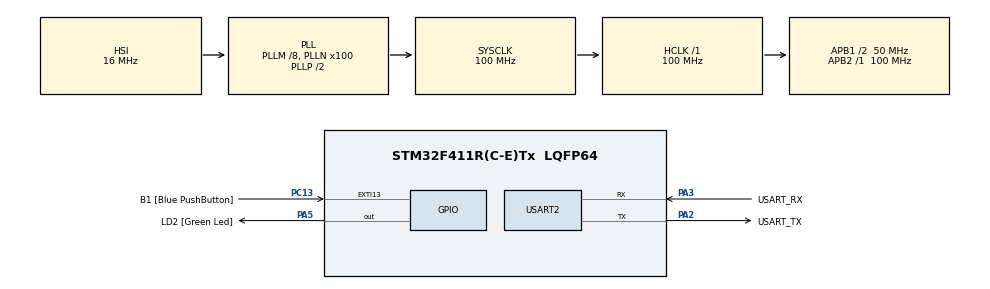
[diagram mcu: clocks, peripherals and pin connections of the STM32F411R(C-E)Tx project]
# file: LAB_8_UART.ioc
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Mcu.Family=STM32F4
PC15-OSC32_OUT.Mode=LSE-External-Oscillator
RCC.CortexFreq_Value=100000000
PC13-ANTI_TAMP.GPIO_Label=B1 [Blue PushButton]
PA14.GPIO_Label=TCK
PH1\ -\ OSC_OUT.Mode=HSE-External-Clock-Source
RCC.APB1CLKDivider=RCC_HCLK_DIV2
PC14-OSC32_IN.Signal=RCC_OSC32_IN
NVIC.USART2_IRQn=true\:0\:0\:false\:false\:true\:true\:true
RCC.SYSCLKSource=RCC_SYSCLKSOURCE_PLLCLK
ProjectManager.StackSize=0x400
PA13.Signal=SYS_JTMS-SWDIO
PA3.Mode=Asynchronous
PH0\ -\ OSC_IN.Mode=HSE-External-Clock-Source
PH0\ -\ OSC_IN.Signal=RCC_OSC_IN
ProjectManager.TargetToolchain=STM32CubeIDE
RCC.HCLKFreq_Value=100000000
RCC.APB2TimFreq_Value=100000000
PC15-OSC32_OUT.Signal=RCC_OSC32_OUT
RCC.AHBFreq_Value=100000000
PA5.Signal=GPIO_Output
RCC.HSE_VALUE=8000000
PH1\ -\ OSC_OUT.Signal=RCC_OSC_OUT
board=NUCLEO-F411RE
PC13-ANTI_TAMP.Signal=GPXTI13
RCC.VCOOutputFreq_Value=200000000
RCC.APB2Freq_Value=100000000
PC14-OSC32_IN.Mode=LSE-External-Oscillator
PA14.Mode=Serial_Wire
PA13.Mode=Serial_Wire
Mcu.Name=STM32F411R(C-E)Tx
PA2.Signal=USART2_TX
PA13.GPIO_Label=TMS
RCC.FLatency-AdvancedSettings=FLASH_LATENCY_3
RCC.48MHZClocksFreq_Value=50000000
PB3.Signal=SYS_JTDO-SWO
RCC.SYSCLKFreq_VALUE=100000000
Mcu.Package=LQFP64
PA5.GPIO_Label=LD2 [Green Led]
USART2.VirtualMode=VM_ASYNC
PC13-ANTI_TAMP.GPIO_ModeDefaultEXTI=GPIO_MODE_IT_FALLING
PA2.GPIO_Label=USART_TX
PA14.Signal=SYS_JTCK-SWCLK
ProjectManager.HeapSize=0x200
RCC.HSI_VALUE=16000000
NVIC.PriorityGroup=NVIC_PRIORITYGROUP_0
RCC.PLLM=8
RCC.PLLN=100
RCC.APB1TimFreq_Value=100000000
PA2.Mode=Asynchronous
RCC.APB1Freq_Value=50000000
PA3.GPIO_Label=USART_RX
PA3.Signal=USART2_RX
PB3.GPIO_Label=SWO

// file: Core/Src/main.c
/* USER CODE BEGIN Header */
/**
 ******************************************************************************
 * @file           : main.c
 * @brief          : Main program body
 ******************************************************************************
 * @attention
 *
 * <h2><center>&copy; Copyright (c) 2021 STMicroelectronics.
 * All rights reserved.</center></h2>
 *
 * This software component is licensed by ST under BSD 3-Clause license,
 * the "License"; You may not use this file except in compliance with the
 * License. You may obtain a copy of the License at:
 *                        opensource.org/licenses/BSD-3-Clause
 *
 ******************************************************************************
 */
/* USER CODE END Header */
#include "main.h"

/* USER CODE BEGIN Includes */
#include <stdio.h> //s
#include <string.h>
/* USER CODE END Includes */

UART_HandleTypeDef huart2;

/* USER CODE BEGIN PV */
char TxDataBuffer[32] =
{ 0 };
char RxDataBuffer[32] =
{ 0 };

uint8_t		ButtonArray[2]  = {0};
uint32_t	LEDTimeStamp    = 0;
uint16_t	LEDFrequency    = 0;
uint16_t	LEDHalfPeriod	= 0;
uint8_t		LED_On_Off		= 1;  //On

typedef enum
{
	Menu_Print,
	Wait_Select_Menu,
	Menu_0_Print = 10,
	Menu_0_Select,
	Menu_1_Print =20,
	Menu_1_Select
}State_Menu;

/* USER CODE END PV */

void SystemClock_Config(void);
static void MX_GPIO_Init(void);
static void MX_USART2_UART_Init(void);
/* USER CODE BEGIN PFP */
void UARTRecieveAndResponsePolling();
int16_t UARTRecieveIT();
/* USER CODE END PFP */

int main(void)
{

  /* MCU Configuration--------------------------------------------------------*/

  /* Reset of all peripherals, Initializes the Flash interface and the Systick. */
  HAL_Init();

  /* Configure the system clock */
  SystemClock_Config();

  /* Initialize all configured peripherals */
  MX_GPIO_Init();
  MX_USART2_UART_Init();
  /* USER CODE BEGIN 2 */
  {
  char temp[]="\n\n\n\r!!!  START  !!!\n\n\n\r";
  HAL_UART_Transmit(&huart2, (uint8_t*)temp, strlen(temp),100);
  }
  /* USER CODE END 2 */

  /* Infinite loop */
  /* USER CODE BEGIN WHILE */
	while (1)
	{
		ButtonArray[0] = HAL_GPIO_ReadPin(B1_GPIO_Port, B1_Pin);

		/*Method 1 Polling Mode*/

//		UARTRecieveAndResponsePolling();

		/*Method 2 Interrupt Mode*/
		HAL_UART_Receive_IT(&huart2,  (uint8_t*)RxDataBuffer, 32);

		/*Method 2 W/ 1 Char Received*/
		if(LED_On_Off){
					if(HAL_GetTick() - LEDTimeStamp >= LEDHalfPeriod) //ms
						{
							LEDTimeStamp = HAL_GetTick();
							HAL_GPIO_TogglePin(LD2_GPIO_Port,LD2_Pin);
				}
				}
				else {
					HAL_GPIO_WritePin(LD2_GPIO_Port, LD2_Pin, 0);
				}

		int16_t inputchar = UARTRecieveIT();
		if(inputchar!=-1)
		{
			sprintf(TxDataBuffer, "\n\rReceivedChar:[%c]\r\n", inputchar);
			HAL_UART_Transmit(&huart2, (uint8_t*)TxDataBuffer, strlen(TxDataBuffer), 100);
		}
		static State_Menu  State = Menu_Print;
				switch(State){
					case Menu_Print:
						sprintf(TxDataBuffer, "\n------- Menu -------\n\r");
						HAL_UART_Transmit(&huart2, (uint8_t*)TxDataBuffer, strlen(TxDataBuffer), 100);
						sprintf(TxDataBuffer, "[0] :LED Control\n\r");
						HAL_UART_Transmit(&huart2, (uint8_t*)TxDataBuffer, strlen(TxDataBuffer), 100);
						sprintf(TxDataBuffer, "[1] :Button Status\n\r");
						HAL_UART_Transmit(&huart2, (uint8_t*)TxDataBuffer, strlen(TxDataBuffer), 100);
						State = Wait_Select_Menu;
						break;
					case Wait_Select_Menu:
						switch(inputchar){
							case -1:
								// on input
								break;
							case '0':
								State = Menu_0_Print;
								break;
							case '1':
								State = Menu_1_Print;
								break;
							default:
									sprintf(TxDataBuffer, "\n\n\rOnly [0],[1] that can be pressable.\n\n\r");
									HAL_UART_Transmit(&huart2, (uint8_t*)TxDataBuffer, strlen(TxDataBuffer), 100);
									State = Menu_Print;
									break;
						}
						break;
//-----------------------------------------------------------------------------------------------------------------------------
					case Menu_0_Print:
						sprintf(TxDataBuffer, "\n------- Menu[0] -------\n\r");
						HAL_UART_Transmit(&huart2, (uint8_t*)TxDataBuffer, strlen(TxDataBuffer), 100);
						sprintf(TxDataBuffer, "[a] :Speed Up 	+1 Hz.\n\r");
						HAL_UART_Transmit(&huart2, (uint8_t*)TxDataBuffer, strlen(TxDataBuffer), 100);
						sprintf(TxDataBuffer, "[s] :Speed Down -1 Hz.\n\r");
						HAL_UART_Transmit(&huart2, (uint8_t*)TxDataBuffer, strlen(TxDataBuffer), 100);
						sprintf(TxDataBuffer, "[d] :On/Off\n\r");
						HAL_UART_Transmit(&huart2, (uint8_t*)TxDataBuffer, strlen(TxDataBuffer), 100);
						sprintf(TxDataBuffer, "[x] :Back\n\r");
						HAL_UART_Transmit(&huart2, (uint8_t*)TxDataBuffer, strlen(TxDataBuffer), 100);
						State = Menu_0_Select;
						break;
					case Menu_0_Select:
						switch (inputchar) {
							case -1:
								//on input
								break;
							case 'a':
								LEDFrequency +=1;
								LEDHalfPeriod = 500/LEDFrequency;
								sprintf(TxDataBuffer, "\n\rLED_ON at %d Hz\n\n\r", LEDFrequency);
								HAL_UART_Transmit(&huart2, (uint8_t*)TxDataBuffer, strlen(TxDataBuffer), 100);
								State = Menu_0_Print;
								break;
							case 's':
								if(LEDFrequency!=0){
								LEDFrequency -=1;
								LEDHalfPeriod = 500/LEDFrequency;
								sprintf(TxDataBuffer, "\n\rLED_ON at %d Hz\n\n\r", LEDFrequency);
								HAL_UART_Transmit(&huart2, (uint8_t*)TxDataBuffer, strlen(TxDataBuffer), 100);
								State = Menu_0_Print;
								}
								else {
									sprintf(TxDataBuffer, "Frequency can't be Negative\n\r", LEDFrequency);
									HAL_UART_Transmit(&huart2, (uint8_t*)TxDataBuffer, strlen(TxDataBuffer), 100);
								}
								State = Menu_0_Print;
								break;
							case 'd':
								if (LED_On_Off == 1){
									sprintf(TxDataBuffer, "\n\rLED ON\n\n\r");
									HAL_UART_Transmit(&huart2, (uint8_t*)TxDataBuffer, strlen(TxDataBuffer), 100);
									}
								else {
									sprintf(TxDataBuffer, "\n\rLED OFF\n\n\r");
									HAL_UART_Transmit(&huart2, (uint8_t*)TxDataBuffer, strlen(TxDataBuffer), 100);
									}
								LED_On_Off = !LED_On_Off;
								State = Menu_0_Print;
								break;
							case 'x':
								State = Menu_Print;
								break;
							default:
								sprintf(TxDataBuffer, "\n\rOnly [a],[s],[d],[x] that can be pressable.\n\n\r");
								HAL_UART_Transmit(&huart2, (uint8_t*)TxDataBuffer, strlen(TxDataBuffer), 100);
								State = Menu_0_Print;
								break;
						}
						break;
//-----------------------------------------------------------------------------------------------------------------------------
					case Menu_1_Print:
						sprintf(TxDataBuffer, "\n-------Button Status-------\n\r");
						HAL_UART_Transmit(&huart2, (uint8_t*)TxDataBuffer, strlen(TxDataBuffer), 100);
						sprintf(TxDataBuffer, "[x] :Back\n\r");
						HAL_UART_Transmit(&huart2, (uint8_t*)TxDataBuffer, strlen(TxDataBuffer), 100);
						State = Menu_1_Select;
						break;
					case Menu_1_Select:
						switch (inputchar) {
							case -1:
								//on input
								break;
							case 'x':
								State = Menu_Print;
								break;
							default:
								sprintf(TxDataBuffer, "\n\n\rOnly [x],[Button Blue] that can be pressable.\n\r");
								HAL_UART_Transmit(&huart2, (uint8_t*)TxDataBuffer, strlen(TxDataBuffer), 100);
								State = Menu_1_Print;
								break;
									}
						if (ButtonArray[0]== 0 && ButtonArray[1]== 1){
							sprintf(TxDataBuffer, "\n\n\n\rButton PRESSED\n\n\r");
							HAL_UART_Transmit(&huart2, (uint8_t*)TxDataBuffer, strlen(TxDataBuffer), 100);
							State = Menu_1_Print;
						}
						else if (ButtonArray[0] == 1 && ButtonArray[1] == 0) {
							sprintf(TxDataBuffer, "\n\n\n\rButton UNPRESSED\n\n\r");
							HAL_UART_Transmit(&huart2, (uint8_t*)TxDataBuffer, strlen(TxDataBuffer), 100);
							State = Menu_1_Print;
						}
						break;

}
				ButtonArray[1] = ButtonArray[0];

		/*This section just simmulate Work Load*/
//		HAL_Delay(100);
//		HAL_GPIO_TogglePin(LD2_GPIO_Port, LD2_Pin);
    /* USER CODE END WHILE */

	}
}

void SystemClock_Config(void)
{
  RCC_OscInitTypeDef RCC_OscInitStruct = {0};
  RCC_ClkInitTypeDef RCC_ClkInitStruct = {0};

  /** Configure the main internal regulator output voltage
  */
  __HAL_RCC_PWR_CLK_ENABLE();
  __HAL_PWR_VOLTAGESCALING_CONFIG(PWR_REGULATOR_VOLTAGE_SCALE1);
  /** Initializes the RCC Oscillators according to the specified parameters
  * in the RCC_OscInitTypeDef structure.
  */
  RCC_OscInitStruct.OscillatorType = RCC_OSCILLATORTYPE_HSI;
  RCC_OscInitStruct.HSIState = RCC_HSI_ON;
  RCC_OscInitStruct.HSICalibrationValue = RCC_HSICALIBRATION_DEFAULT;
  RCC_OscInitStruct.PLL.PLLState = RCC_PLL_ON;
  RCC_OscInitStruct.PLL.PLLSource = RCC_PLLSOURCE_HSI;
  RCC_OscInitStruct.PLL.PLLM = 8;
  RCC_OscInitStruct.PLL.PLLN = 100;
  RCC_OscInitStruct.PLL.PLLP = RCC_PLLP_DIV2;
  RCC_OscInitStruct.PLL.PLLQ = 4;
  if (HAL_RCC_OscConfig(&RCC_OscInitStruct) != HAL_OK)
  {
    Error_Handler();
  }
  /** Initializes the CPU, AHB and APB buses clocks
  */
  RCC_ClkInitStruct.ClockType = RCC_CLOCKTYPE_HCLK|RCC_CLOCKTYPE_SYSCLK
                              |RCC_CLOCKTYPE_PCLK1|RCC_CLOCKTYPE_PCLK2;
  RCC_ClkInitStruct.SYSCLKSource = RCC_SYSCLKSOURCE_PLLCLK;
  RCC_ClkInitStruct.AHBCLKDivider = RCC_SYSCLK_DIV1;
  RCC_ClkInitStruct.APB1CLKDivider = RCC_HCLK_DIV2;
  RCC_ClkInitStruct.APB2CLKDivider = RCC_HCLK_DIV1;

  if (HAL_RCC_ClockConfig(&RCC_ClkInitStruct, FLASH_LATENCY_3) != HAL_OK)
  {
    Error_Handler();
  }
}

static void MX_USART2_UART_Init(void)
{

  huart2.Instance = USART2;
  huart2.Init.BaudRate = 115200;
  huart2.Init.WordLength = UART_WORDLENGTH_8B;
  huart2.Init.StopBits = UART_STOPBITS_1;
  huart2.Init.Parity = UART_PARITY_NONE;
  huart2.Init.Mode = UART_MODE_TX_RX;
  huart2.Init.HwFlowCtl = UART_HWCONTROL_NONE;
  huart2.Init.OverSampling = UART_OVERSAMPLING_16;
  if (HAL_UART_Init(&huart2) != HAL_OK)
  {
    Error_Handler();
  }

}

static void MX_GPIO_Init(void)
{
  GPIO_InitTypeDef GPIO_InitStruct = {0};

  /* GPIO Ports Clock Enable */
  __HAL_RCC_GPIOC_CLK_ENABLE();
  __HAL_RCC_GPIOH_CLK_ENABLE();
  __HAL_RCC_GPIOA_CLK_ENABLE();
  __HAL_RCC_GPIOB_CLK_ENABLE();

  /*Configure GPIO pin Output Level */
  HAL_GPIO_WritePin(LD2_GPIO_Port, LD2_Pin, GPIO_PIN_RESET);

  /*Configure GPIO pin : B1_Pin */
  GPIO_InitStruct.Pin = B1_Pin;
  GPIO_InitStruct.Mode = GPIO_MODE_IT_FALLING;
  GPIO_InitStruct.Pull = GPIO_NOPULL;
  HAL_GPIO_Init(B1_GPIO_Port, &GPIO_InitStruct);

  /*Configure GPIO pin : LD2_Pin */
  GPIO_InitStruct.Pin = LD2_Pin;
  GPIO_InitStruct.Mode = GPIO_MODE_OUTPUT_PP;
  GPIO_InitStruct.Pull = GPIO_NOPULL;
  GPIO_InitStruct.Speed = GPIO_SPEED_FREQ_LOW;
  HAL_GPIO_Init(LD2_GPIO_Port, &GPIO_InitStruct);

}

/* USER CODE BEGIN 4 */
void UARTRecieveAndResponsePolling()
{
	char Recieve[32]={0};

	HAL_UART_Receive(&huart2, (uint8_t*)Recieve, 32, 1000);

	sprintf(TxDataBuffer, "Received:[%s]\r\n", Recieve);
	HAL_UART_Transmit(&huart2, (uint8_t*)TxDataBuffer, strlen(TxDataBuffer), 1000);

}

int16_t UARTRecieveIT()
{
	static uint32_t dataPos =0;
	int16_t data=-1;
	if(huart2.RxXferSize - huart2.RxXferCount!=dataPos)
	{
		data=RxDataBuffer[dataPos];
		dataPos= (dataPos+1)%huart2.RxXferSize;
	}
	return data;
}

void HAL_UART_RxCpltCallback(UART_HandleTypeDef *huart)
{
	sprintf(TxDataBuffer, "Received:[%s]\r\n", RxDataBuffer);
	HAL_UART_Transmit(&huart2, (uint8_t*)TxDataBuffer, strlen(TxDataBuffer), 1000);
}
/* USER CODE END 4 */

void Error_Handler(void)
{
	__disable_irq();
	while (1)
	{
	}
}

/************************ (C) COPYRIGHT STMicroelectronics *****END OF FILE****/
